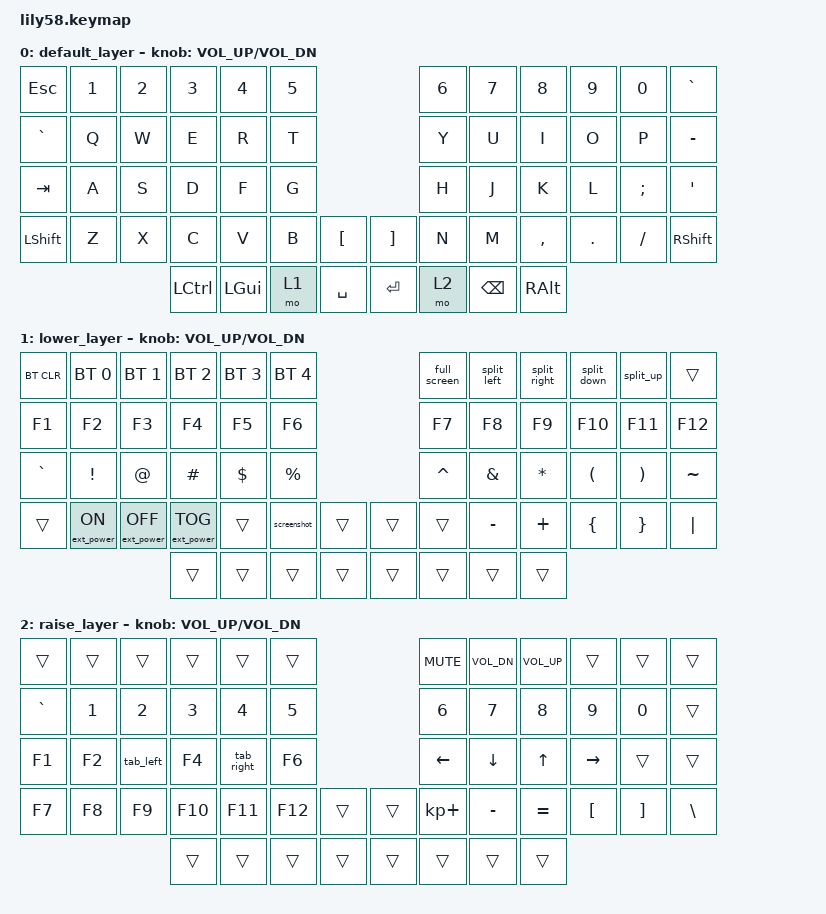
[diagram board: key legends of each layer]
/*
 * Copyright (c) 2020 The ZMK Contributors
 *
 * SPDX-License-Identifier: MIT
 */

#include <behaviors.dtsi>
#include <dt-bindings/zmk/keys.h>
#include <dt-bindings/zmk/bt.h>
#include <dt-bindings/zmk/ext_power.h>

/ {
    macros {
        screenshot: screenshot {
            compatible = "zmk,behavior-macro";
            #binding-cells = <0>;
            bindings
                = <&macro_press &kp LGUI &kp LCTRL &kp LSHFT>
                , <&macro_tap &kp N4>
                , <&macro_release &kp LGUI &kp LCTRL &kp LSHFT>
                ;
        };

        split_left: split_left {
            compatible = "zmk,behavior-macro";
            #binding-cells = <0>;
            bindings
                = <&macro_press &kp LALT &kp LCTRL>
                , <&macro_tap &kp LEFT>
                , <&macro_release &kp LALT &kp LCTRL>
                ;
        };

        split_right: split_right {
            compatible = "zmk,behavior-macro";
            #binding-cells = <0>;
            bindings
                = <&macro_press &kp LALT &kp LCTRL>
                , <&macro_tap &kp RIGHT>
                , <&macro_release &kp LALT &kp LCTRL>
                ;
        };

        split_up: split_up {
            compatible = "zmk,behavior-macro";
            #binding-cells = <0>;
            bindings
                = <&macro_press &kp LALT &kp LCTRL>
                , <&macro_tap &kp UP>
                , <&macro_release &kp LALT &kp LCTRL>
                ;
        };

        split_down: split_down {
            compatible = "zmk,behavior-macro";
            #binding-cells = <0>;
            bindings
                = <&macro_press &kp LALT &kp LCTRL>
                , <&macro_tap &kp DOWN>
                , <&macro_release &kp LALT &kp LCTRL>
                ;
        };

        full_screen: full_screen {
            compatible = "zmk,behavior-macro";
            #binding-cells = <0>;
            bindings
                = <&macro_press &kp LALT &kp LCTRL>
                , <&macro_tap &kp ENTER>
                , <&macro_release &kp LALT &kp LCTRL>
                ;
        };

        tab_left: tab_left {
            compatible = "zmk,behavior-macro";
            #binding-cells = <0>;
            bindings
                = <&macro_press &kp LGUI &kp LALT>
                , <&macro_tap &kp LEFT>
                , <&macro_release &kp LGUI &kp LALT>
                ;
        };

        tab_right: tab_right {
            compatible = "zmk,behavior-macro";
            #binding-cells = <0>;
            bindings
                = <&macro_press &kp LGUI &kp LALT>
                , <&macro_tap &kp RIGHT>
                , <&macro_release &kp LGUI &kp LALT>
                ;
        };
    };

    keymap {
        compatible = "zmk,keymap";

        default_layer {
// ------------------------------------------------------------------------------------------------------------
// |  ESC  |  1  |  2  |  3   |  4   |  5   |                   |  6   |  7    |  8    |  9   |   0   |   `   |
// |  TAB  |  Q  |  W  |  E   |  R   |  T   |                   |  Y   |  U    |  I    |  O   |   P   |   -   |
// |  CTRL |  A  |  S  |  D   |  F   |  G   |                   |  H   |  J    |  K    |  L   |   ;   |   '   |
// | SHIFT |  Z  |  X  |  C   |  V   |  B   |   "["  |  |  "]"  |  N   |  M    |  ,    |  .   |   /   | SHIFT |
//                     | ALT  | GUI  | LOWER|  SPACE |  | ENTER | RAISEfsafasffsdf| BSPC  | GUI   |
            bindings = <
&kp ESC     &kp N1 &kp N2 &kp N3   &kp N4   &kp N5                     &kp N6 &kp N7   &kp N8    &kp N9  &kp N0   &kp GRAVE
&kp GRAVE   &kp Q  &kp W  &kp E    &kp R    &kp T                      &kp Y  &kp U    &kp I     &kp O   &kp P    &kp MINUS
&kp TAB     &kp A  &kp S  &kp D    &kp F    &kp G                      &kp H  &kp J    &kp K     &kp L   &kp SEMI &kp SQT
&kp LSHFT   &kp Z  &kp X  &kp C    &kp V    &kp B  &kp LBKT   &kp RBKT &kp N  &kp M    &kp COMMA &kp DOT &kp FSLH &kp RSHFT
                          &kp LCTRL &kp LGUI &mo 1  &kp SPACE  &kp RET  &mo 2  &kp BSPC &kp RALT
            >;

            sensor-bindings = <&inc_dec_kp C_VOL_UP C_VOL_DN>;
        };

        lower_layer {
// ------------------------------------------------------------------------------------------------------------
// | BTCLR | BT1 | BT2 |  BT3 |  BT4 |  BT5 |                   |      |       |       |      |       |       |
// |  F1   |  F2 |  F3 |  F4  |  F5  |  F6  |                   |  F7  |  F8   |  F9   |  F10 |  F11  |  F12  |
// |   `   |  !  |  @  |  #   |  $   |  %   |                   |  ^   |  &    |  *    |  (   |   )   |   ~   |
// |       |     |     |      |      |      |        |  |       |      |  _    |  +    |  {   |   }   |  "|"  |
//                     |      |      |      |        |  |       |      |       |       |
            bindings = <
&bt BT_CLR      &bt BT_SEL 0     &bt BT_SEL 1      &bt BT_SEL 2      &bt BT_SEL 3 &bt BT_SEL 4                                                                                &full_screen  &split_left     &split_right    &split_down     &split_up       &trans
&kp F1          &kp F2           &kp F3            &kp F4            &kp F5       &kp F6                                                                                      &kp F7        &kp F8          &kp F9          &kp F10         &kp F11         &kp F12
&kp GRAVE       &kp EXCL         &kp AT            &kp HASH          &kp DOLLAR   &kp PRCNT                                                                                   &kp CARET     &kp AMPS        &kp ASTRK       &kp LPAR        &kp RPAR        &kp TILDE
&trans          &ext_power EP_ON &ext_power EP_OFF &ext_power EP_TOG &trans       &screenshot     &trans                                                                &trans     &trans        &kp MINUS       &kp PLUS        &kp LBRC        &kp RBRC        &kp PIPE
                                 &trans            &trans            &trans       &trans                                                                                      &trans        &trans          &trans          &trans
            >;

            sensor-bindings = <&inc_dec_kp C_VOL_UP C_VOL_DN>;
        };

        raise_layer {
// ------------------------------------------------------------------------------------------------------------
// |       |     |     |      |      |      |                   |      |       |       |      |       |       |
// |   `   |  1  |  2  |  3   |  4   |  5   |                   |  6   |   7   |   8   |  9   |   0   |       |
// |   F1  |  F2 |  F3 |  F4  |  F5  |  F6  |                   |  <-  |   v   |   ^   |  ->  |  >   |       |
// |   F7  |  F8 |  F9 |  F10 |  F11 |  F12 |        |  |       |  +   |   -   |   =   |  [   |   ]   |   \   |
//                     |      |      |      |        |  |       |      |       |       |
            bindings = <
&trans      &trans      &trans      &trans      &trans      &trans                                                                                                             &kp C_MUTE   &kp C_VOL_DN    &kp C_VOL_UP    &trans     &trans      &trans
&kp GRAVE   &kp N1      &kp N2      &kp N3      &kp N4      &kp N5                                                                                                             &kp N6       &kp N7          &kp N8          &kp N9     &kp N0      &trans
&kp F1      &kp F2      &tab_left   &kp F4      &tab_right  &kp F6                                                                                                             &kp LEFT       &kp DOWN        &kp UP        &kp RIGHT     &trans   &trans
&kp F7      &kp F8      &kp F9      &kp F10     &kp F11     &kp F12   &trans                                                                                         &trans    &kp KP_PLUS  &kp MINUS       &kp EQUAL       &kp LBKT   &kp RBKT    &kp BSLH
                        &trans      &trans      &trans      &trans                                                                                                             &trans       &trans          &trans          &trans
            >;

            sensor-bindings = <&inc_dec_kp C_VOL_UP C_VOL_DN>;
        };
    };
};
